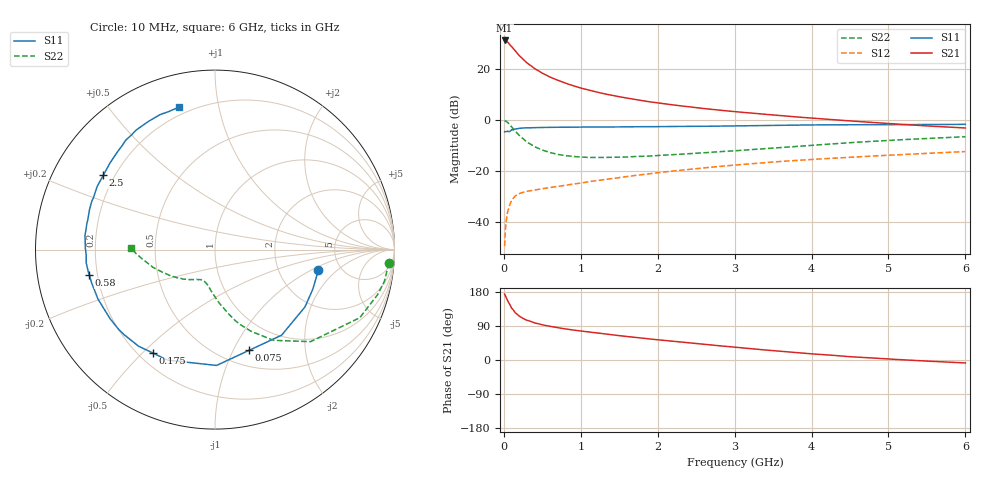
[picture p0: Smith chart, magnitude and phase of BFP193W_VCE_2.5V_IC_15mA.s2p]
! Infineon Technologies  Discrete & RF Semiconductors
! BFP193W
! VCE = 2.5 V,  IC =  15 mA
! Common Emitter S-Parameters:  Jan 2016
# GHz  S  MA  R  50
!  f  S11  S21  S12  S22
! GHz  MAG  ANG  MAG  ANG  MAG  ANG  MAG  ANG
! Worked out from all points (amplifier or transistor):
!   210 points, 10 MHz to 6 GHz, reference 50 ohm
!   highest |S21| = 31.1 dB at 10 MHz (marker M1)
!   |S21| within 3 dB of that: start of sweep to 118.9 MHz
!   unconditionally stable (mu >= 1): 1.109 GHz to 3.981 GHz
!   at 185 MHz: K = 0.28, MSG = 27.4 dB, |S12| = -29.1 dB
!   at 1.52 GHz: K = 1.11, MAG = 13.7 dB, |S12| = -22.4 dB
!   at 6 GHz: K = 0.93, MSG = 4.6 dB, |S12| = -12.4 dB
!   S11 on the Smith chart (normalised r, x): 10 MHz: 3.41, -1.18; 75 MHz: 0.67, -1.16; 175 MHz: 0.26, -0.54; 580 MHz: 0.17, -0.10; 2.5 GHz: 0.16, +0.30; 6 GHz: 0.16, +0.77
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0.01  0.5876 -11.1  35.76 174.0  0.0034 86.1  0.9713 -4.4
0.02  0.5879 -22.1  35.56 169.8  0.0071 79.1  0.9603 -10.6
0.03  0.5944 -32.5  35.03 165.0  0.0102 77.8  0.9399 -15.5
0.05  0.6043 -52.1  33.19 155.6  0.0162 69.3  0.8913 -25.2
0.075  0.5924 -71.3  29.93 147.3  0.0213 59.8  0.8046 -33.7
0.1  0.6454 -89.2  27.43 137.3  0.0268 54.0  0.7394 -43.9
0.15  0.6698 -113.1  22.19 124.4  0.0327 45.3  0.6014 -57.2
0.175  0.6721 -120.8  20.11 120.5  0.0344 42.5  0.5484 -61.2
0.2  0.6863 -128.3  18.15 115.8  0.0361 40.0  0.4987 -66.1
0.24  0.6934 -136.7  15.84 111.0  0.038 37.8  0.4404 -71.4
0.3  0.7001 -146.7  13.02 104.9  0.0401 36.0  0.3689 -77.8
0.4  0.7077 -157.0  10.08 97.9  0.0427 35.4  0.2995 -85.4
0.58  0.715 -168.7  7.14 89.5  0.0472 37.2  0.2353 -94.6
0.8  0.7181 -177.7  5.22 82.0  0.0527 40.6  0.2004 -101.9
1.02  0.7248 176.1  4.122 76.0  0.0589 43.9  0.1875 -107.9
1.4  0.7278 167.0  3.034 66.5  0.0712 47.7  0.1854 -115.0
2.02  0.7397 154.7  2.131 53.0  0.0937 50.4  0.2025 -124.2
2.5  0.7479 146.4  1.734 43.3  0.1115 50.2  0.223 -131.7
3.1  0.765 136.7  1.408 32.0  0.1346 48.4  0.2554 -141.5
4.1  0.7984 122.3  1.06 14.9  0.1722 43.4  0.3258 -158.2
5.1  0.8115 111.5  0.829 1.5  0.2075 37.7  0.405 -172.1
6  0.8186 104.2  0.695 -7.8  0.2406 32.6  0.4687 178.9
